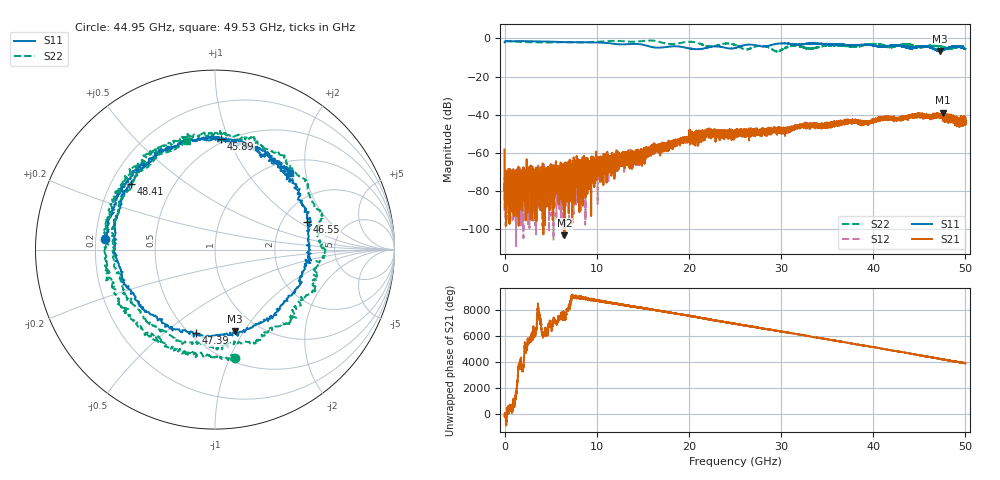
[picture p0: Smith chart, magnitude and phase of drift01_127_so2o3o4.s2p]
!Created with skrf (http://scikit-rf.org).
# Hz S RI R 50.0
!freq ReS11 ImS11 ReS21 ImS21 ReS12 ImS12 ReS22 ImS22
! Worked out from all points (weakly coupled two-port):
!   10001 points, 300 kHz to 50 GHz, reference 50 ohm
!   highest |S21| = -38.92 dB at 47.59 GHz (marker M1); lowest = -103.1 dB at 6.495 GHz (marker M2)
!   lowest |S11| = -6.6 dB at 47.21 GHz (marker M3), VSWR 2.77, Z = 39.2 - j45.8 ohm
!   |S11| at or under -10 dB: nowhere
!   |S22| runs from -6.8 to -1.0 dB; largest |S21 - S12| = 0.0036
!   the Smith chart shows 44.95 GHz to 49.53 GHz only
!   S11 on the Smith chart (normalised r, x): 44.95 GHz: 0.24, +0.05; 45.89 GHz: 0.47, +0.94; 46.55 GHz: 2.74, +1.18; 47.39 GHz: 0.54, -0.65; 48.41 GHz: 0.28, +0.32; 49.53 GHz: 1.24, +1.63
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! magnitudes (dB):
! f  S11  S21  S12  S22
! 300 kHz  -2.0  -58.2  -70.4  -1.3
! 250.3 MHz  -1.4  -80.0  -73.8  -1.4
! 385.3 MHz  -1.4  -73.8  -78.0  -1.4
! 4.75 GHz  -1.6  -68.8  -84.1  -2.1
! 6.495 GHz  -1.9  -103.1  -72.0  -1.9
! 8.335 GHz  -1.9  -68.3  -67.4  -2.1
! 16.67 GHz  -4.8  -57.2  -56.0  -1.6
! 22.04 GHz  -4.7  -49.2  -50.6  -4.1
! 25 GHz  -5.0  -49.6  -49.1  -3.4
! 29.53 GHz  -2.8  -47.6  -48.1  -6.7
! 31.27 GHz  -3.0  -46.6  -46.7  -4.0
! 33.34 GHz  -2.6  -45.8  -45.8  -5.3
! 41.67 GHz  -3.8  -41.2  -41.6  -4.5
! 44.95 GHz  -4.3  -40.5  -40.5  -4.3
! 45.89 GHz  -4.2  -40.4  -41.0  -4.2
! 46.55 GHz  -5.4  -39.4  -41.8  -3.9
! 47.21 GHz  -6.6  -40.1  -39.8  -4.4
! 47.39 GHz  -6.4  -41.3  -40.4  -4.7
! 47.59 GHz  -6.1  -38.9  -41.6  -4.7
! 48.41 GHz  -4.5  -40.6  -42.2  -5.3
! 49.53 GHz  -4.5  -40.5  -42.2  -4.1
! 50 GHz  -5.5  -43.4  -43.8  -4.2
